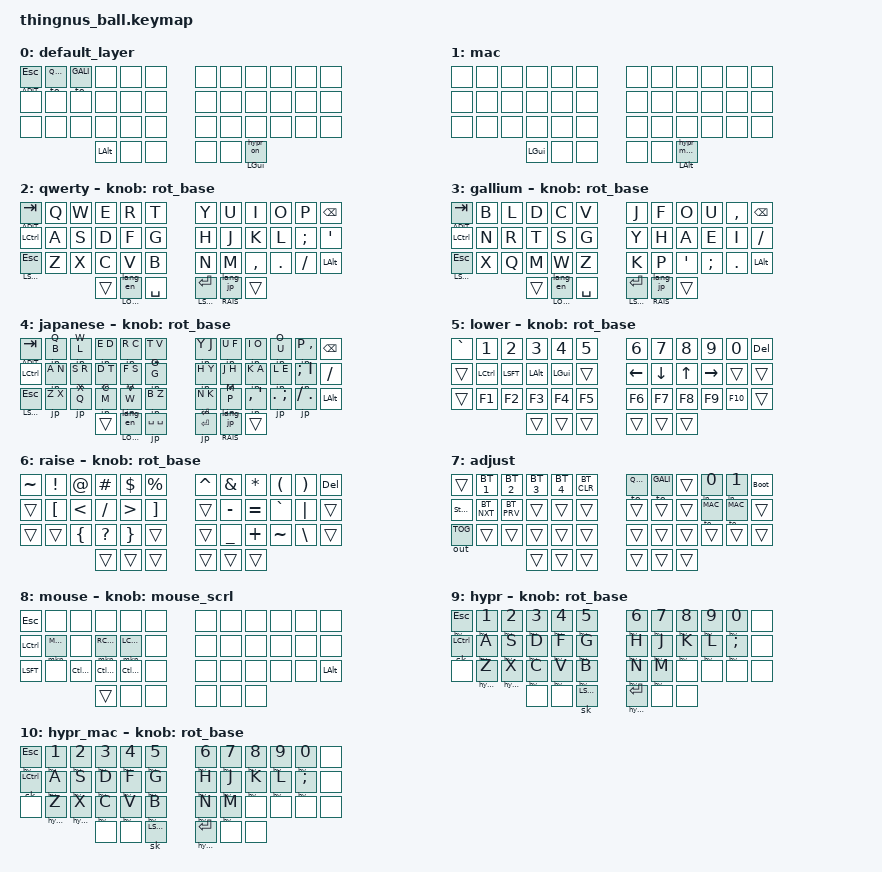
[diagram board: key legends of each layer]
/*
 * Copyright (c) 2021-2025 The ZMK Contributors
 *
 * SPDX-License-Identifier: MIT
 */

#define ZMK_POINTING_DEFAULT_SCRL_VAL 100

#include <behaviors.dtsi>
#include <dt-bindings/zmk/keys.h>
#include <dt-bindings/zmk/bt.h>
#include <dt-bindings/zmk/outputs.h>
#include <dt-bindings/zmk/pointing.h>
#include <behaviors/japanese_input.dtsi>

#define MAC 1
#define QWER 2
#define GALI 3
#define JAPN 4
#define LOWR 5
#define RAIS 6
#define ADJT 7
#define HYPR 9
#define MOUSE 8
#define HYPR_MAC 10

// restore layer click mkp key after 250ms
&mkp_input_listener {
  input-processors = <&zip_temp_layer MOUSE 250>;
};

&msc_input_listener {
  input-processors = <&zip_temp_layer MOUSE 10000>;
};

&lt {
  flavor = "hold-preferred";
};    

/ {
  macros {
      hypr_on: hyprland_on {
          compatible = "zmk,behavior-macro";
          #binding-cells = <0>;
          bindings
              = <&macro_tap &tog_on HYPR>
              , <&macro_tap &sk LGUI>
              ;
      };

      hypr_off: hyprland_off {
        compatible = "zmk,behavior-macro-one-param";
        #binding-cells = <1>;
        bindings
              = <&macro_param_1to1 &macro_tap &kp MACRO_PLACEHOLDER>
              , <&macro_tap &tog_off HYPR>
              ;
      };

      hypr_mac_on: hyprland_mac_on {
          compatible = "zmk,behavior-macro";
          #binding-cells = <0>;
          bindings
              = <&macro_tap &tog_on HYPR_MAC>
              , <&macro_tap &sk LALT>
              ;
      };

      hypr_mac_off: hyprland_mac_off {
        compatible = "zmk,behavior-macro-one-param";
        #binding-cells = <1>;
        bindings
              = <&macro_param_1to1 &macro_tap &kp MACRO_PLACEHOLDER>
              , <&macro_tap &tog_off HYPR_MAC>
              ;
      };

      lang_jp: lang_jp {
          compatible = "zmk,behavior-macro";
          #binding-cells = <0>;
          bindings
              = <&macro_tap &tog_on JAPN>
              , <&macro_tap &kp LANG1>
              ;
      };

      lang_en: lang_en {
        compatible = "zmk,behavior-macro";
        #binding-cells = <0>;
        bindings
              = <&macro_tap &tog_off JAPN>
              , <&macro_tap &kp LANG2>
              ;
      };
  };
    
  behaviors {
      // for application-toggle
      gui_p: gui_positive {
        compatible = "zmk,behavior-mod-morph";
        #binding-cells = <0>;
        bindings = <&kp 0>, <&kp TAB>;
        mods = <(MOD_LGUI|MOD_RGUI)>;
        keep-mods = <(MOD_LGUI)>;
      };
      gui_n: gui_negative {
        compatible = "zmk,behavior-mod-morph";
        #binding-cells = <0>;
        bindings = <&kp 0>, <&kp LS(TAB)>;
        mods = <(MOD_LGUI|MOD_RGUI)>;
        keep-mods = <(MOD_LGUI)>;
      };

      // left and right move
      arrow_n: arrow_negative {
        compatible = "zmk,behavior-mod-morph";
        #binding-cells = <0>;
        bindings = <&kp UP>, <&kp LEFT>;
        mods = <(MOD_LSFT|MOD_RSFT)>;
      };

      arrow_p: arrow_positive {
        compatible = "zmk,behavior-mod-morph";
        #binding-cells = <0>;
        bindings = <&kp DOWN>, <&kp RIGHT>;
        mods = <(MOD_LSFT|MOD_RSFT)>;
      };

      // negative rotation
      rot_n: rot_n {
        compatible = "zmk,behavior-mod-morph";
        #binding-cells = <0>;
        bindings = <&arrow_n>, <&gui_n>;
        mods = <(MOD_LGUI|MOD_RGUI)>;
      };

      // positive rotation
      rot_p: rot_positive {
        compatible = "zmk,behavior-mod-morph";
        #binding-cells = <0>;
        bindings = <&arrow_p>, <&gui_p>;
        mods = <(MOD_LGUI|MOD_RGUI)>;
      };

      rot_base: rot_base {
        compatible = "zmk,behavior-sensor-rotate";
        #sensor-binding-cells = <0>;
        bindings = <&rot_n>, <&rot_p>;
        tap-ms = <20>;
      };

      // scrolling with encoder
      mouse_scrl: mouse_wheel_scrl {
        compatible = "zmk,behavior-sensor-rotate";
        #sensor-binding-cells = <0>;
        bindings = <&msc SCRL_UP>, <&msc SCRL_DOWN>;
        tap-ms = <20>;
      };
      
      tog_on: toggle_layer_on_only {
          compatible = "zmk,behavior-toggle-layer";
          #binding-cells = <1>;
          display-name = "Toggle Layer On";
          toggle-mode = "on";
      };

      tog_off: toggle_layer_off_only {
          compatible = "zmk,behavior-toggle-layer";
          #binding-cells = <1>;
          display-name = "Toggle Layer Off";
          toggle-mode = "off";
      };

      mt_hypr: mt_hypr {
            compatible = "zmk,behavior-hold-tap";
            display-name = "MT for HYPR";
            bindings = <&kp>, <&hypr_on>;

            #binding-cells = <2>;
            tapping-term-ms = <200>;
            flavor = "balanced";
            quick-tap-ms = <200>;
      };

      mt_hypr_mac: mt_hypr_mac {
            compatible = "zmk,behavior-hold-tap";
            display-name = "MT for HYPR on macOS";
            bindings = <&kp>, <&hypr_mac_on>;

            #binding-cells = <2>;
            tapping-term-ms = <200>;
            flavor = "balanced";
            quick-tap-ms = <200>;
      };

      lt_lang2: lt_lang2 {
            compatible = "zmk,behavior-hold-tap";
            display-name = "LT for LANG2";
            bindings = <&mo>, <&lang_en>;

            #binding-cells = <2>;
            tapping-term-ms = <200>;
            flavor = "hold-preferred";
      };

      lt_lang1: lt_lang1 {
            compatible = "zmk,behavior-hold-tap";
            display-name = "LT for LANG1";
            bindings = <&mo>, <&lang_jp>;

            #binding-cells = <2>;
            tapping-term-ms = <200>;
            flavor = "hold-preferred";
      };
  };

  keymap {
    compatible = "zmk,keymap";

    default_layer {
      bindings = <
  &lt ADJT ESC   &to QWER &to GALI &none     &none    &none                     &none    &none    &none     &none   &none    &none
  &none          &none    &none    &none     &none    &none                     &none    &none    &none     &none   &none    &none
  &none          &none    &none    &none     &none    &none                     &none    &none    &none     &none   &none    &none
                                &kp LALT     &none    &none                     &none    &none    &mt_hypr LGUI 0
      >;

    };
    mac {
      bindings = <
  &none   &none    &none &none     &none    &none                     &none    &none    &none     &none   &none    &none
  &none   &none    &none &none     &none    &none                     &none    &none    &none     &none   &none    &none
  &none   &none    &none &none     &none    &none                     &none    &none    &none     &none   &none    &none
                         &kp LGUI  &none    &none                     &none    &none    &mt_hypr_mac LALT 0
      >;

    };

    qwerty {
      bindings = <
  &lt ADJT TAB  &kp Q &kp W &kp E     &kp R          &kp T                    &kp Y           &kp U              &kp I     &kp O   &kp P    &kp BSPC
  &kp LCTRL     &kp A &kp S &kp D     &kp F          &kp G                    &kp H           &kp J              &kp K     &kp L   &kp SEMI &kp SQT
  &mt LSHFT ESC &kp Z &kp X &kp C     &kp V          &kp B                    &kp N           &kp M              &kp COMMA &kp DOT &kp FSLH &kp LALT
                            &trans    &lt_lang2 LOWR 0 &kp SPACE                &mt LSHFT ENTER &lt_lang1 RAIS 0 &trans
      >;
      sensor-bindings = <&rot_base>;
    };

    gallium {
      bindings = <
  &lt ADJT TAB  &kp B &kp L &kp D     &kp C          &kp V                    &kp J           &kp F             &kp O     &kp U    &kp COMMA &kp BSPC
  &kp LCTRL     &kp N &kp R &kp T     &kp S          &kp G                    &kp Y           &kp H             &kp A     &kp E    &kp I     &kp FSLH
  &mt LSHFT ESC &kp X &kp Q &kp M     &kp W          &kp Z                    &kp K           &kp P             &kp SQT   &kp SEMI &kp DOT   &kp LALT
                            &trans  &lt_lang2 LOWR 0 &kp SPACE                &mt LSHFT ENTER &lt_lang1 RAIS 0  &trans
      >;

      sensor-bindings = <&rot_base>;
    };

    japanese {
      bindings = <
  &lt ADJT TAB  &jp Q B &jp W L &jp E D   &jp R C          &jp T V                  &jp Y J         &jp U F          &jp I O       &jp O U      &jp P COMMA  &kp BSPC
  &kp LCTRL     &jp A N &jp S R &jp D T   &jp F S          &jp G G                  &jp H Y         &jp J H          &jp K A       &jp L E      &jp SEMI I   &kp FSLH
  &mt LSHFT ESC &jp Z X &jp X Q &jp C M   &jp V W          &jp B Z                  &jp N K         &jp M P          &jp COMMA SQT &jp DOT SEMI &jp FSLH DOT &kp LALT
                                &trans    &lt_lang2 LOWR 0 &jp SPACE SPACE          &jp ENTER ENTER &lt_lang1 RAIS 0 &trans
      >;
      sensor-bindings = <&rot_base>;
    };

    lower {
      bindings = <
  &kp GRAVE &kp N1    &kp N2   &kp N3   &kp N4   &kp N5           &kp N6   &kp N7   &kp N8 &kp N9    &kp N0  &kp DEL
  &trans    &kp LCTRL &kp LSFT &kp LALT &kp LGUI &trans           &kp LEFT &kp DOWN &kp UP &kp RIGHT &trans  &trans
  &trans    &kp F1    &kp F2   &kp F3   &kp F4   &kp F5           &kp F6   &kp F7   &kp F8 &kp F9    &kp F10 &trans
                               &trans   &trans   &trans           &trans   &trans   &trans
      >;

      sensor-bindings = <&rot_base>;
    };
    raise {
      bindings = <
  &kp TILDE &kp EXCL &kp AT   &kp HASH  &kp DOLLAR &kp PERCENT    &kp CARET  &kp AMPS  &kp ASTRK &kp LPRN  &kp RPRN &kp DEL
  &trans    &kp LBKT &kp LT   &kp FSLH  &kp GT     &kp RBKT       &trans     &kp MINUS &kp EQUAL &kp GRAVE &kp PIPE &trans
  &trans    &trans   &kp LBRC &kp QMARK &kp RBRC   &trans         &trans     &kp UNDER &kp PLUS  &kp TILDE &kp BSLH &trans
                                 &trans &trans     &trans         &trans     &trans    &trans
      >;

      sensor-bindings = <&rot_base>;
    };

    adjust {
      bindings = <
  &trans         &bt BT_SEL 1 &bt BT_SEL 2 &bt BT_SEL 3 &bt BT_SEL 4 &bt BT_CLR      &to QWER &to GALI &trans  &jp_tog 0     &jp_tog 1    &bootloader
  &studio_unlock &bt BT_NXT   &bt BT_PRV   &trans       &trans       &trans          &trans   &trans   &trans  &tog_off MAC  &tog_on MAC  &trans
  &out OUT_TOG   &trans       &trans       &trans       &trans       &trans          &trans   &trans   &trans  &trans        &trans       &trans
                                           &trans       &trans       &trans          &trans   &trans   &trans
      >;
    };

    mouse {
      bindings = <
  &kp ESC   &none     &none     &none     &none     &none                     &none    &none     &none     &none   &none     &none
  &kp LCTL  &mkp MCLK &none     &mkp RCLK &mkp LCLK &none                     &none    &none     &none     &none   &none     &none
  &kp LSFT  &none     &kp LC(X) &kp LC(C) &kp LC(V) &none                     &none    &none     &none     &none   &none     &kp LALT
                                &trans    &none     &none                     &none    &none     &none
      >;

      sensor-bindings = <&mouse_scrl>;
    };

    hypr {
      bindings = <
  &hypr_off ESC &hypr_off N1   &hypr_off N2 &hypr_off N3  &hypr_off N4   &hypr_off N5        &hypr_off N6    &hypr_off N7    &hypr_off N8 &hypr_off N9  &hypr_off N0   &none
  &sk LCTRL     &hypr_off A    &hypr_off S  &hypr_off D   &hypr_off F    &hypr_off G         &hypr_off H     &hypr_off J     &hypr_off K  &hypr_off L   &hypr_off SEMI &none
  &none         &hypr_off Z    &hypr_off X  &hypr_off C   &hypr_off V    &hypr_off B         &hypr_off N     &hypr_off M     &none        &none         &none          &none
                                            &none         &none          &sk LSHIFT          &hypr_off ENTER &none           &none
      >;

      sensor-bindings = <&rot_base>;
    };

    hypr_mac {
      bindings = <
  &hypr_mac_off ESC &hypr_mac_off N1   &hypr_mac_off N2 &hypr_mac_off N3  &hypr_mac_off N4   &hypr_mac_off N5        &hypr_mac_off N6    &hypr_mac_off N7    &hypr_mac_off N8 &hypr_mac_off N9  &hypr_mac_off N0   &none
  &sk LCTRL         &hypr_mac_off A    &hypr_mac_off S  &hypr_mac_off D   &hypr_mac_off F    &hypr_mac_off G         &hypr_mac_off H     &hypr_mac_off J     &hypr_mac_off K  &hypr_mac_off L   &hypr_mac_off SEMI &none
  &none             &hypr_mac_off Z    &hypr_mac_off X  &hypr_mac_off C   &hypr_mac_off V    &hypr_mac_off B         &hypr_mac_off N     &hypr_mac_off M     &none        &none         &none          &none
                                                        &none             &none              &sk LSHIFT              &hypr_mac_off ENTER &none           &none
      >;

      sensor-bindings = <&rot_base>;
    };

  };
};
